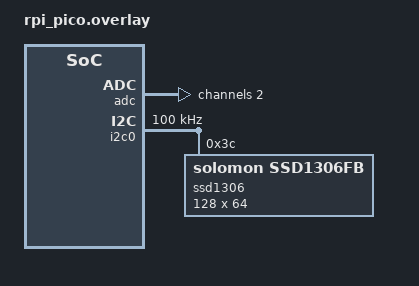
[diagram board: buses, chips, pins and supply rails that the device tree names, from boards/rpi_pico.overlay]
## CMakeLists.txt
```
cmake_minimum_required(VERSION 3.20.0)

find_package(Zephyr REQUIRED HINTS $ENV{ZEPHYR_BASE})
project(adc_oled_display)

# Include directories
target_include_directories(app PRIVATE include)

# Source files
target_sources(app PRIVATE 
    src/main.c
    src/adc_sensor.c
    src/display_manager.c
)
```

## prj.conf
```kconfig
# ADC for current sensing
CONFIG_ADC=y
CONFIG_ADC_SHELL=y

# Display
CONFIG_I2C=y    
CONFIG_DISPLAY=y    
CONFIG_SSD1306=y   
CONFIG_SSD1306_DEFAULT_CONTRAST=128       
CONFIG_LOG=y     
CONFIG_CFB_LOG_LEVEL_DBG=y
CONFIG_CHARACTER_FRAMEBUFFER=y
CONFIG_GPIO=y
CONFIG_PINCTRL=y

# Floating point support for printf 
CONFIG_CBPRINTF_FP_SUPPORT=y

# Enable heap memory (needed for k_malloc / k_free)  
CONFIG_HEAP_MEM_POOL_SIZE=16384    
 
```

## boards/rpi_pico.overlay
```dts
&adc {
    status = "okay";
    #address-cells = <1>;
    #size-cells = <0>;

    channel@2 {
        reg = <2>;  /* GPIO 28 = ADC channel 2 */
        zephyr,gain = "ADC_GAIN_1";
        zephyr,reference = "ADC_REF_INTERNAL";
        zephyr,acquisition-time = <ADC_ACQ_TIME_DEFAULT>;
        zephyr,resolution = <12>;
    };
};
&i2c0 {
    status = "okay";  
    clock-frequency = <I2C_BITRATE_STANDARD>; 
    pinctrl-0 = <&i2c0_default>;
    pinctrl-names = "default";

    ssd1306: ssd1306@3c {
        compatible = "solomon,ssd1306fb";
        reg = <0x3c>;
        height = <64>;
        width = <128>;
        segment-offset = <0>;
        page-offset = <0>;
        display-offset = <0>;
        multiplex-ratio = <63>;
        prechargep = <0x22>;
        com-invdir;
        segment-remap;
    };
};


&pinctrl {
    i2c0_default: i2c0_default {
        group1 {
            pinmux = <I2C0_SDA_P4>, <I2C0_SCL_P5>;
            input-enable;
            input-schmitt-enable;
        };
    };
};

/ {
    chosen {
        zephyr,display = &ssd1306;  
    };
};
```

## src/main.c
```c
#include <zephyr/kernel.h>
#include <zephyr/sys/printk.h>
#include "sensors/adc_sensor.h"
#include "display/display_manager.h"

void main(void)
{
    const struct device *adc_dev;
    const struct device *disp_dev;

    int ret = adc_sensor_init(&adc_dev);
    if (ret < 0) return;

    ret = display_manager_init(&disp_dev);
    if (ret < 0) return;

    int16_t raw_value;
    float voltage;

    while (1) {
        ret = adc_sensor_read(adc_dev, &raw_value, &voltage);
        if (ret == 0) {
            printk("ADC Raw: %d, Voltage: %.3f V\n", raw_value, (double)voltage);

            char buffer[32];
            snprintf(buffer, sizeof(buffer), "V=%.2f", (double)voltage);
            display_manager_print(disp_dev, buffer, 0, 0);
        }
        k_sleep(K_SECONDS(1));
    }
}
```

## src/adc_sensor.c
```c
#include "sensors/adc_sensor.h"
#include <zephyr/kernel.h>
#include <zephyr/sys/printk.h>

static int16_t adc_sample_buffer[1];

static const struct adc_channel_cfg adc_channel_cfg = {
    .gain             = ADC_GAIN,
    .reference        = ADC_REFERENCE,
    .acquisition_time = ADC_ACQUISITION_TIME,
    .channel_id       = ADC_CHANNEL_ID,
    .differential     = 0,
#ifdef CONFIG_ADC_CONFIGURABLE_INPUTS
    .input_positive   = ADC_CHANNEL_ID,
#endif
};

static struct adc_sequence adc_sequence = {
    .channels    = BIT(ADC_CHANNEL_ID),
    .buffer      = adc_sample_buffer,
    .buffer_size = sizeof(adc_sample_buffer),
    .resolution  = ADC_RESOLUTION,
};

int adc_sensor_init(const struct device **adc_dev)
{
    *adc_dev = DEVICE_DT_GET(DT_NODELABEL(adc));
    if (!device_is_ready(*adc_dev)) {
        printk("ERROR: ADC device not ready\n");
        return -ENODEV;
    }

    int ret = adc_channel_setup(*adc_dev, &adc_channel_cfg);
    if (ret < 0) {
        printk("ERROR: ADC channel setup failed (%d)\n", ret);
        return ret;
    }

    printk("ADC initialized on channel %d\n", ADC_CHANNEL_ID);
    return 0;
}

int adc_sensor_read(const struct device *adc_dev, int16_t *raw_value, float *voltage)
{
    int ret = adc_read(adc_dev, &adc_sequence);
    if (ret < 0) {
        printk("ADC read failed (%d)\n", ret);
        return ret;
    }

    *raw_value = adc_sample_buffer[0];
    *voltage = (float)(*raw_value) * 3.3f / ((1 << ADC_RESOLUTION) - 1);

    return 0;
}
```

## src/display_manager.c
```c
#include "display/display_manager.h"
#include <zephyr/display/cfb.h>

static const struct device *display_dev;

int display_manager_init(const struct device **disp_dev)
{
    display_dev = DEVICE_DT_GET(DT_CHOSEN(zephyr_display));
    if (!device_is_ready(display_dev)) {
        return -ENODEV;
    }

    // Initialize the character framebuffer - this sets up font rendering
    if (cfb_framebuffer_init(display_dev) != 0) {
        return -EIO;
    }

    // call the font function
    font_adjustment(display_dev);

    // Clear display and update - this sends initialization commands to SSD1306
    cfb_framebuffer_clear(display_dev, true);
    
    *disp_dev = display_dev;
    return 0;
}

int font_adjustment(const struct device *disp_dev) {    
    uint16_t x_res;
    uint16_t y_res;
    uint16_t rows;
    uint8_t ppt;
    uint8_t font_width;
    uint8_t font_height;
    
    // Let's set the screen resolution
    x_res = cfb_get_display_parameter(disp_dev, CFB_DISPLAY_WIDTH);
    y_res = cfb_get_display_parameter(disp_dev, CFB_DISPLAY_HEIGHT);
    rows = cfb_get_display_parameter(disp_dev, CFB_DISPLAY_ROWS);
    ppt = cfb_get_display_parameter(disp_dev, CFB_DISPLAY_PPT);

    // now we can set the font
    for (int idx = 0; idx < 42; idx++) {
        if (cfb_get_font_size(disp_dev, idx, &font_width, &font_height)) {
            break;
        }
        cfb_framebuffer_set_font(disp_dev, idx);
    }
    return 0;
}
int display_manager_print(const struct device *disp_dev, const char *msg, int x, int y)
{
    // Clear the framebuffer but don't update display yet
    cfb_framebuffer_clear(disp_dev, false);
    
    // Print text to framebuffer at specified coordinates
    if (cfb_print(disp_dev, msg, x, y) != 0) {
        return -EIO;
    }
    
    // Transfer framebuffer to display GDRAM via I2C
    if (cfb_framebuffer_finalize(disp_dev) != 0) {
        return -EIO;
    }
    
    return 0;
}
```
